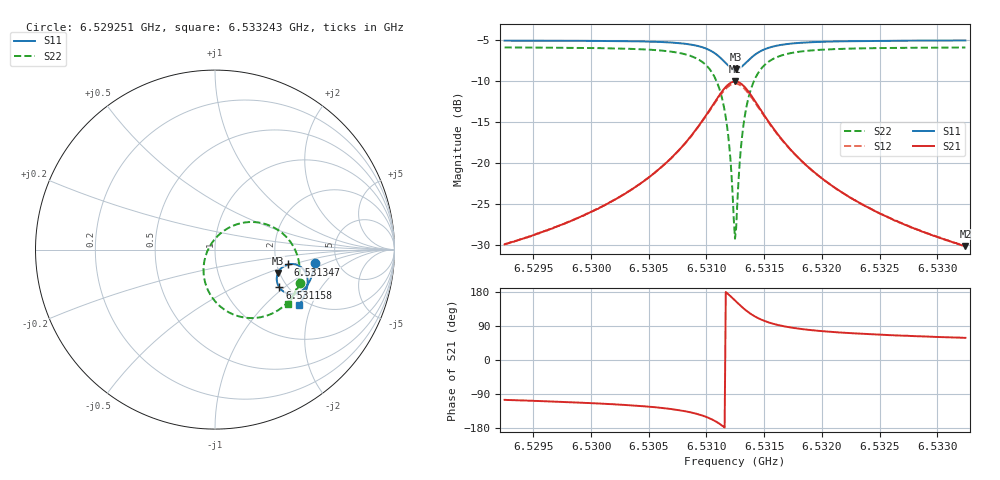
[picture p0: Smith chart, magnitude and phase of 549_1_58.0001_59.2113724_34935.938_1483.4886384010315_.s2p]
#  HZ  S  RI  R  50.00
! Rohde & Schwarz Vector Network Analyzer
! Rohde-Schwarz,ZNB20-2Port,1311601062101988,3.16
! Created: UTC 3/21/2024, 1:14:55 AM
! freq[Hz]  re:S11  im:S11  re:S21  im:S21  re:S12  im:S12  re:S22  im:S22
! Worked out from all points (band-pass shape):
!   401 points, 6.529251 GHz to 6.533243 GHz, reference 50 ohm
!   highest |S21| = -10.01 dB at 6.531247 GHz (marker M1); lowest = -30.1 dB at 6.533243 GHz (marker M2)
!   |S21| within 3 dB of the highest: 6.531049 GHz to 6.531449 GHz (399.3 kHz wide, 0.00611 % of centre)
!   lowest |S11| = -8.5 dB at 6.531257 GHz (marker M3), VSWR 2.20, Z = 98.1 - j29.6 ohm
!   |S11| at or under -10 dB: nowhere
!   |S22| runs from -29.2 to -5.9 dB; largest |S21 - S12| = 0.013
!   S11 on the Smith chart (normalised r, x): 6.529251 GHz: 3.37, -0.75; 6.531158 GHz: 1.81, -0.93; 6.531347 GHz: 2.30, -0.46; 6.533243 GHz: 1.82, -1.64
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6.5292514e9  0.5555 -0.0768  -0.00837 -0.0309  -0.00909 -0.0307  0.475 -0.1847
6.52992e9  0.5437 -0.1326  -0.0184 -0.0439  -0.0194 -0.0434  0.4423 -0.2464
6.5302893e9  0.5314 -0.1672  -0.0311 -0.057  -0.0324 -0.0564  0.4091 -0.2894
6.5305887e9  0.5137 -0.1997  -0.0536 -0.0746  -0.0558 -0.0732  0.3578 -0.3339
6.5308182e9  0.4853 -0.2288  -0.0949 -0.0937  -0.0976 -0.0904  0.2748 -0.3719
6.5309879e9  0.4401 -0.247  -0.1649 -0.0989  -0.167 -0.0922  0.1466 -0.3752
6.5310877e9  0.3941 -0.2401  -0.2358 -0.0704  -0.2345 -0.0605  0.0277 -0.3155
6.5311575e9  0.3588 -0.2109  -0.2872 -0.00922  -0.2809 0.000829  -0.0482 -0.2043
6.5311974e9  0.3461 -0.1817  -0.3026 0.0454  -0.2929 0.0534  -0.064 -0.1112
6.5312274e9  0.3444 -0.1556  -0.3005 0.092  -0.2892 0.0972  -0.0523 -0.0356
6.5312374e9  0.3457 -0.1469  -0.2967 0.1077  -0.2851 0.1118  -0.0435 -0.0107
6.5312473e9  0.3479 -0.1383  -0.2912 0.1227  -0.2796 0.1259  -0.032 0.0132
6.5312573e9  0.351 -0.1299  -0.2844 0.1374  -0.2728 0.1395  -0.0183 0.0359
6.5313072e9  0.3779 -0.0962  -0.2325 0.195  -0.2231 0.193  0.0758 0.1213
6.5313471e9  0.4062 -0.0828  -0.1818 0.2179  -0.1748 0.2143  0.1631 0.1507
6.531417e9  0.451 -0.0832  -0.1037 0.2187  -0.1003 0.2152  0.2934 0.1381
6.5315168e9  0.4895 -0.1068  -0.0376 0.1851  -0.036 0.1833  0.4005 0.0674
6.5316665e9  0.5113 -0.1442  0.00171 0.1363  0.00302 0.1355  0.4581 -0.0311
6.531916e9  0.516 -0.1881  0.0179 0.0887  0.019 0.0883  0.4717 -0.1301
6.5322254e9  0.5089 -0.2251  0.0201 0.0598  0.0211 0.0594  0.4604 -0.1979
6.5325846e9  0.4967 -0.2584  0.0191 0.0423  0.0198 0.0421  0.4419 -0.2468
6.5332433e9  0.4706 -0.3079  0.0163 0.0266  0.0169 0.0262  0.4073 -0.3058
